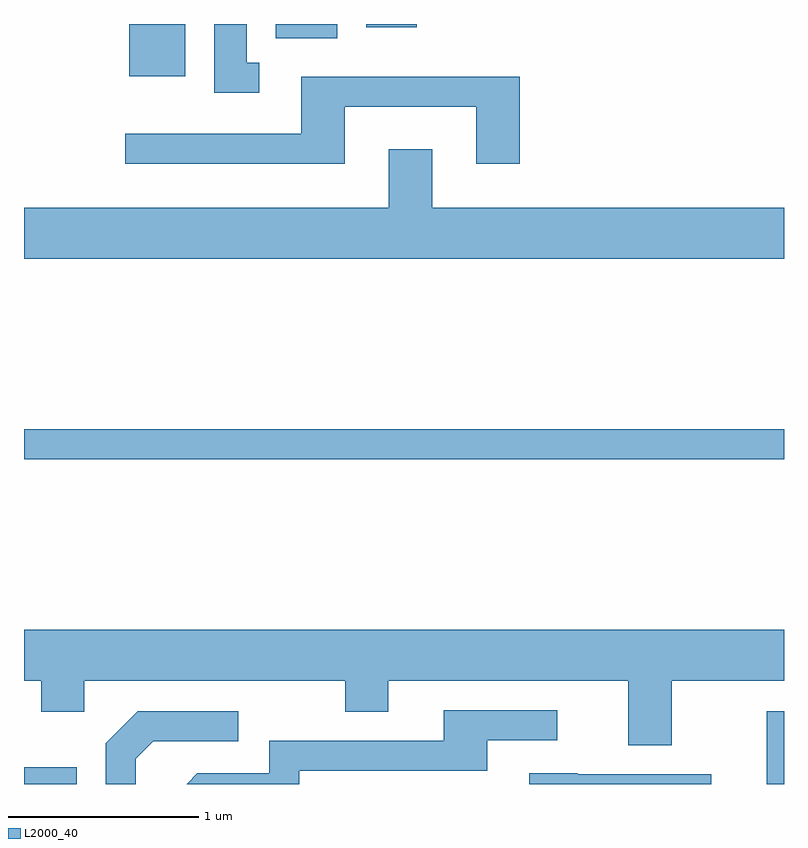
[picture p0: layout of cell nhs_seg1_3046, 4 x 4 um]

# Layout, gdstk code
import gdstk
lib = gdstk.Library(unit=1e-6, precision=1e-09)
def R(c, l, rs):  # rectangles x0, y0, x1, y1
    for r in rs: c.add(gdstk.rectangle(r[:2], r[2:], *l))
def P(c, l, *ps):  # polygons
    for p in ps: c.add(gdstk.Polygon(p, *l))
L2000_40 = (2000, 40)

nhs_seg1_3046 = lib.new_cell('nhs_seg1_3046')
R(nhs_seg1_3046, L2000_40, [(277.611,885.712,277.889,885.799), (281.521,885.712,281.611,886.094), (277.611,887.421,281.611,887.579), (278.166,889.436,278.459,889.712), (278.936,889.636,279.259,889.712), (279.411,889.696,279.679,889.712)])
P(nhs_seg1_3046, L2000_40, [(278.848,889.509),(278.784,889.509),(278.784,889.712),(278.611,889.712),(278.611,889.351),(278.848,889.351)],
  [(279.299,889.276),(279.991,889.276),(279.991,888.976),(280.219,888.976),(280.219,889.434),(279.071,889.434),(279.071,889.134),(278.143,889.134),(278.143,888.976),(279.299,888.976)],
  [(281.611,888.744),(279.759,888.744),(279.759,889.054),(279.531,889.054),(279.531,888.744),(277.611,888.744),(277.611,888.476),(281.611,888.476)],
  [(281.019,886.256),(281.611,886.256),(281.611,886.524),(277.611,886.524),(277.611,886.256),(277.701,886.256),(277.701,886.091),(277.929,886.091),(277.929,886.256),(279.301,886.256),(279.301,886.091),(279.529,886.091),(279.529,886.256),(280.791,886.256),(280.791,885.916),(281.019,885.916)],
  [(279.059,885.781),(280.049,885.781),(280.049,885.941),(280.418,885.941),(280.418,886.099),(279.821,886.099),(279.821,885.939),(278.901,885.939),(278.901,885.769),(278.524,885.769),(278.467,885.712),(279.059,885.712)],
  [(278.199,885.844),(278.292,885.936),(278.738,885.936),(278.738,886.094),(278.209,886.094),(278.041,885.927),(278.041,885.712),(278.199,885.712)],
  [(281.229,885.764),(280.525,885.764),(280.525,885.769),(280.271,885.769),(280.271,885.712),(281.229,885.712)])

lib.write_gds('nhs_seg1_3046.gds')
